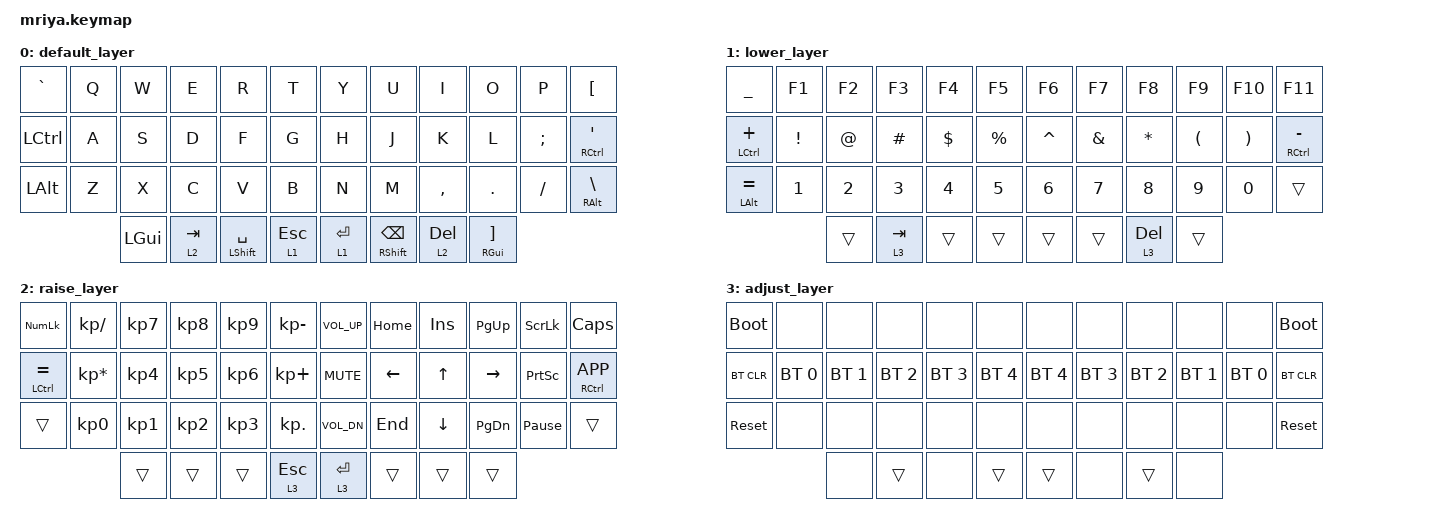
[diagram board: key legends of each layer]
/*
 * Copyright (c) 2023 Andrei Gaevskii
 *
 * SPDX-License-Identifier: MIT
 */

#include <behaviors.dtsi>
#include <dt-bindings/zmk/bt.h>
#include <dt-bindings/zmk/keys.h>

#define DEF 0
#define LWR 1
#define RSE 2
#define ADJ 3

&lt {
    quick_tap_ms = <125>;
};

&mt {
    quick_tap_ms = <125>;
};

/ {
    combos {
        compatible = "zmk,combos";

        rb {
            timeout-ms = <20>;
            bindings = <&kp RBKT>;
            key-positions = <6 7>;
        };

        lb {
            timeout-ms = <20>;
            bindings = <&kp LBKT>;
            key-positions = <4 5>;
        };

        lbb {
            timeout-ms = <20>;
            bindings = <&kp LPAR>;
            key-positions = <16 17>;
        };

        rbb {
            timeout-ms = <20>;
            bindings = <&kp RPAR>;
            key-positions = <18 19>;
        };

        lbbb {
            timeout-ms = <20>;
            bindings = <&kp LBRC>;
            key-positions = <28 29>;
        };

        rbbb {
            timeout-ms = <20>;
            bindings = <&kp RBRC>;
            key-positions = <30 31>;
        };

        cps1 {
            timeout-ms = <20>;
            bindings = <&kp CLCK>;
            key-positions = <19 41>;
        };

        cps2 {
            timeout-ms = <20>;
            bindings = <&kp CLCK>;
            key-positions = <19 20>;
        };

        cps3 {
            timeout-ms = <20>;
            bindings = <&kp CLCK>;
            key-positions = <15 16>;
        };

        cps4 {
            timeout-ms = <20>;
            bindings = <&kp CLCK>;
            key-positions = <16 38>;
        };

        mns {
            timeout-ms = <20>;
            bindings = <&kp MINUS>;
            key-positions = <21 20>;
        };

        unds {
            timeout-ms = <20>;
            bindings = <&kp UNDER>;
            key-positions = <21 22>;
        };

        ent {
            timeout-ms = <20>;
            bindings = <&kp RET>;
            key-positions = <4 17>;
        };

        bksp {
            timeout-ms = <20>;
            bindings = <&kp BACKSPACE>;
            key-positions = <3 4>;
        };

        spc {
            timeout-ms = <20>;
            bindings = <&kp SPACE>;
            key-positions = <8 9>;
        };

        rgp {
            timeout-ms = <20>;
            bindings = <&kp RG(LBKT)>;
            key-positions = <10 11>;
        };

        lap {
            timeout-ms = <20>;
            bindings = <&kp LA(P)>;
            key-positions = <9 10>;
        };

        eql {
            bindings = <&kp EQUAL>;
            key-positions = <7 8>;
        };

        pls {
            bindings = <&kp PLUS>;
            key-positions = <31 32>;
        };
    };

    keymap {
        compatible = "zmk,keymap";

        default_layer {
            bindings = <
  &kp GRAVE  &kp Q     &kp W      &kp E            &kp R      &kp T        &kp Y           &kp U      &kp I                   &kp O     &kp P       &kp LBKT
  &kp LCTRL  &kp A     &kp S      &kp D            &kp F      &kp G        &kp H           &kp J      &kp K                   &kp L  &kp SEMI  &mt RCTRL SQT
   &kp LALT  &kp Z     &kp X      &kp C            &kp V      &kp B        &kp N           &kp M  &kp COMMA                 &kp DOT  &kp FSLH  &mt RALT BSLH
                    &kp LGUI  &lt 2 TAB  &mt LSHFT SPACE  &lt 1 ESC    &lt 1 RET  &mt RSHFT BSPC  &lt 2 DEL  &mt RGUI RIGHT_BRACKET
            >;
        };

        lower_layer {
            bindings = <
       &kp UNDER    &kp F1  &kp F2     &kp F3    &kp F4     &kp F5       &kp F6    &kp F7     &kp F8    &kp F9   &kp F10          &kp F11
  &mt LCTRL PLUS  &kp EXCL  &kp AT   &kp HASH  &kp DLLR  &kp PRCNT    &kp CARET  &kp AMPS   &kp STAR  &kp LPAR  &kp RPAR  &mt RCTRL MINUS
  &mt LALT EQUAL    &kp N1  &kp N2     &kp N3    &kp N4     &kp N5       &kp N6    &kp N7     &kp N8    &kp N9    &kp N0           &trans
                            &trans  &lt 3 TAB    &trans     &trans       &trans    &trans  &lt 3 DEL    &trans
            >;
        };

        raise_layer {
            bindings = <
       &kp KP_NUM     &kp KP_SLASH  &kp KP_N7  &kp KP_N8  &kp KP_N9  &kp KP_MINUS    &kp C_VOL_UP  &kp HOME   &kp INS  &kp PG_UP         &kp SLCK         &kp CAPS
  &mt LCTRL EQUAL  &kp KP_MULTIPLY  &kp KP_N4  &kp KP_N5  &kp KP_N6   &kp KP_PLUS      &kp C_MUTE  &kp LEFT    &kp UP  &kp RIGHT        &kp PSCRN  &mt RCTRL K_APP
           &trans        &kp KP_N0  &kp KP_N1  &kp KP_N2  &kp KP_N3    &kp KP_DOT    &kp C_VOL_DN   &kp END  &kp DOWN  &kp PG_DN  &kp PAUSE_BREAK           &trans
                                       &trans     &trans     &trans     &lt 3 ESC       &lt 3 RET    &trans    &trans     &trans
            >;
        };

        adjust_layer {
            bindings = <
  &bootloader         &none         &none         &none         &none         &none           &none         &none         &none         &none         &none  &bootloader
   &bt BT_CLR  &bt BT_SEL 0  &bt BT_SEL 1  &bt BT_SEL 2  &bt BT_SEL 3  &bt BT_SEL 4    &bt BT_SEL 4  &bt BT_SEL 3  &bt BT_SEL 2  &bt BT_SEL 1  &bt BT_SEL 0   &bt BT_CLR
   &sys_reset         &none         &none         &none         &none         &none           &none         &none         &none         &none         &none   &sys_reset
                                    &none        &trans         &none        &trans          &trans         &none        &trans         &none
            >;
        };
    };
};
